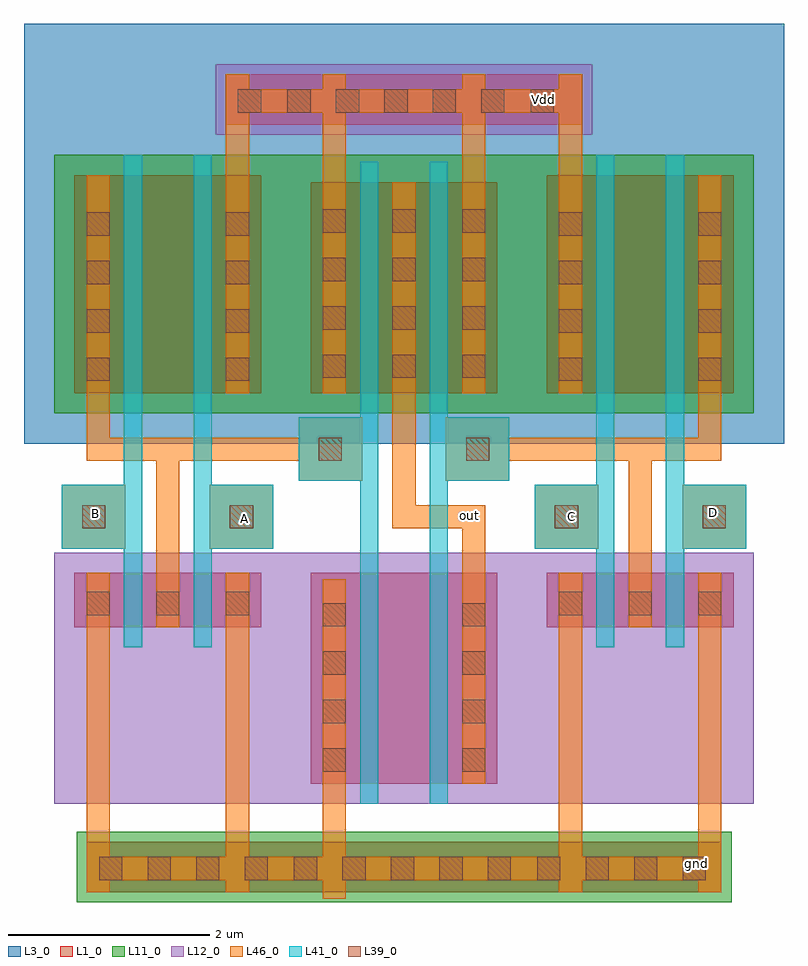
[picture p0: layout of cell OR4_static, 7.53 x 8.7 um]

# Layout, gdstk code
import gdstk
lib = gdstk.Library(unit=1e-6, precision=1e-09)
def R(c, l, rs):  # rectangles x0, y0, x1, y1
    for r in rs: c.add(gdstk.rectangle(r[:2], r[2:], *l))
def A(c, l, x, y, w, h, nx, ny, dx, dy):  # array of equal rectangles
    R(c, l, [(x+i*dx, y+j*dy, x+i*dx+w, y+j*dy+h) for i in range(nx) for j in range(ny)])
L1_0 = (1, 0)
L3_0 = (3, 0)
L11_0 = (11, 0)
L12_0 = (12, 0)
L39_0 = (39, 0)
L41_0 = (41, 0)
L46_0 = (46, 0)

or4_static = lib.new_cell('OR4_static')
R(or4_static, L1_0, [(-3.08,2.815,3.205,3.315), (-0.865,3.89,0.985,5.98), (-3.205,5.44,-1.355,5.98), (1.475,5.44,3.325,5.98), (-3.205,7.76,-1.355,9.92), (-0.865,7.76,0.985,9.85), (1.475,7.76,3.325,9.92), (-1.705,10.42,1.825,10.92)])
R(or4_static, L3_0, [(-3.705,7.26,3.825,11.42)])
R(or4_static, L11_0, [(-3.18,2.715,3.305,3.415), (-3.405,7.56,3.525,10.12)])
R(or4_static, L12_0, [(-3.405,3.69,3.525,6.18), (-1.805,10.32,1.925,11.02)])
A(or4_static, L39_0, -2.96, 2.935, 0.23, 0.23, 4, 1, 0.48, 0)
A(or4_static, L39_0, -1.03, 2.935, 0.23, 0.23, 5, 1, 0.48, 0)
A(or4_static, L39_0, 1.38, 2.935, 0.23, 0.23, 4, 1, 0.48, 0)
A(or4_static, L39_0, -0.745, 4.01, 0.23, 0.23, 1, 4, 0, 0.48)
A(or4_static, L39_0, 0.635, 4.01, 0.23, 0.23, 1, 4, 0, 0.48)
A(or4_static, L39_0, -3.085, 5.56, 0.23, 0.23, 3, 1, 0.69, 0)
A(or4_static, L39_0, 1.595, 5.56, 0.23, 0.23, 3, 1, 0.69, 0)
A(or4_static, L39_0, -3.085, 7.88, 0.23, 0.23, 1, 4, 0, 0.48)
A(or4_static, L39_0, -1.705, 7.88, 0.23, 0.23, 1, 4, 0, 0.48)
A(or4_static, L39_0, 1.595, 7.88, 0.23, 0.23, 1, 4, 0, 0.48)
A(or4_static, L39_0, 2.975, 7.88, 0.23, 0.23, 1, 4, 0, 0.48)
A(or4_static, L39_0, -0.745, 7.91, 0.23, 0.23, 3, 4, 0.69, 0.48)
A(or4_static, L39_0, -1.095, 10.54, 0.23, 0.23, 5, 1, 0.48, 0)
R(or4_static, L39_0, [(-3.13,6.42,-2.9,6.65), (-1.665,6.42,-1.435,6.65), (1.555,6.42,1.785,6.65), (3.02,6.42,3.25,6.65), (-0.785,7.09,-0.555,7.32), (0.675,7.09,0.905,7.32), (-1.585,10.54,-1.355,10.77), (1.315,10.54,1.545,10.77)])
R(or4_static, L41_0, [(-0.375,3.69,-0.195,10.05), (0.315,3.69,0.495,10.05), (-2.715,5.24,-2.535,10.12), (-2.025,5.24,-1.845,10.12), (1.965,5.24,2.145,10.12), (2.655,5.24,2.835,10.12), (-3.33,6.22,-2.7,6.85), (-1.865,6.22,-1.235,6.85), (1.355,6.22,1.985,6.85), (2.82,6.22,3.45,6.85), (-0.985,6.89,-0.355,7.52), (0.475,6.89,1.105,7.52)])
R(or4_static, L46_0, [(-0.745,2.75,-0.515,5.915), (-3.085,2.815,-2.855,5.98), (-1.705,2.815,-1.475,5.98), (1.595,2.815,1.825,5.98), (2.975,2.815,3.205,5.98), (-3.08,2.935,3.205,3.165), (0.635,3.89,0.865,6.515), (-2.395,5.44,-2.165,7.175), (2.285,5.44,2.515,7.185), (-3.33,6.22,-2.7,6.85), (-1.865,6.22,-1.235,6.85), (1.355,6.22,1.985,6.85), (2.82,6.22,3.45,6.85), (-0.055,6.42,0.865,6.65), (-0.055,6.48,0.175,9.85), (-0.985,6.89,-0.355,7.52), (0.475,6.89,1.105,7.52), (-3.085,7.09,-0.86,7.32), (0.895,7.09,3.205,7.32), (2.975,7.15,3.205,9.92), (-3.085,7.19,-2.855,9.92), (-1.705,7.76,-1.475,10.92), (-0.745,7.76,-0.515,10.92), (0.635,7.76,0.865,10.92), (1.595,7.76,1.825,10.92), (-1.705,10.54,1.825,10.77)])
or4_static.add(gdstk.Label('Vdd', (1.44,10.67), layer=101, texttype=0))
or4_static.add(gdstk.Label('out', (0.71,6.55), layer=101, texttype=0))
or4_static.add(gdstk.Label('A', (-1.525,6.52), layer=101, texttype=0))
or4_static.add(gdstk.Label('B', (-2.995,6.57), layer=101, texttype=0))
or4_static.add(gdstk.Label('C', (1.72,6.54), layer=101, texttype=0))
or4_static.add(gdstk.Label('D', (3.13,6.58), layer=101, texttype=0))
or4_static.add(gdstk.Label('gnd', (2.96,3.095), layer=101, texttype=0))

lib.write_gds('OR4_static.gds')
